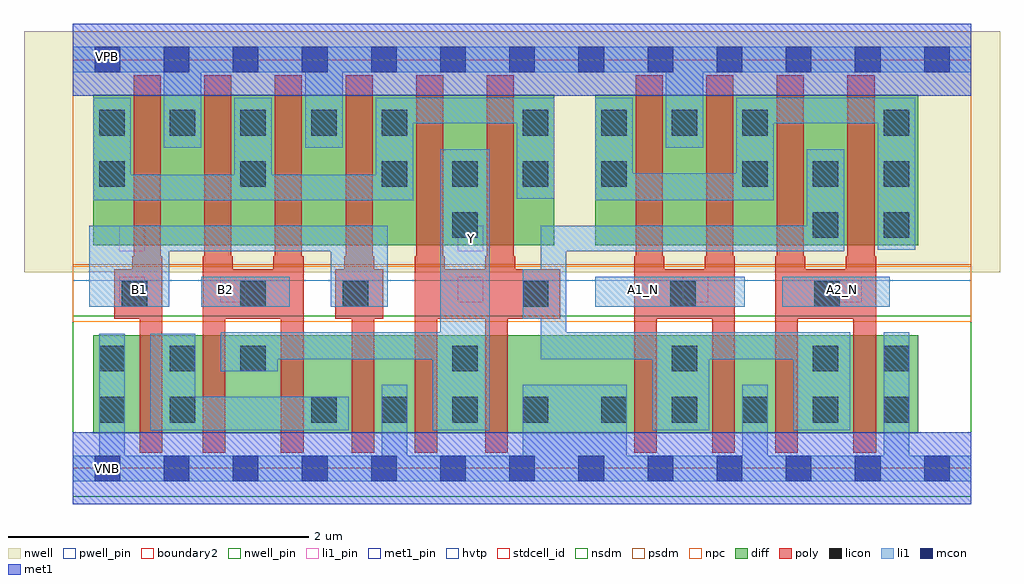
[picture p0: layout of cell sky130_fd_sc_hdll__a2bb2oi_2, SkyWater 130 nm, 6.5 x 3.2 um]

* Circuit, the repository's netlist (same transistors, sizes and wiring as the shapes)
* Copyright 2020 The SkyWater PDK Authors
*
* Licensed under the Apache License, Version 2.0 (the "License");
* you may not use this file except in compliance with the License.
* You may obtain a copy of the License at
*
*     https://www.apache.org/licenses/LICENSE-2.0
*
* Unless required by applicable law or agreed to in writing, software
* distributed under the License is distributed on an "AS IS" BASIS,
* WITHOUT WARRANTIES OR CONDITIONS OF ANY KIND, either express or implied.
* See the License for the specific language governing permissions and
* limitations under the License.
*
* SPDX-License-Identifier: Apache-2.0

.SUBCKT sky130_fd_sc_hdll__a2bb2oi_2 A1_N A2_N B1 B2 VGND VNB VPB VPWR Y
*.PININFO A1_N:I A2_N:I B1:I B2:I VGND:I VNB:I VPB:I VPWR:I Y:O
MMNnor0 inor A1_N VGND VNB sky130_fd_pr__nfet_01v8 m=2 w=0.65U l=0.15U mult=1 sa=0.265
+ sb=0.265 sd=0.28 area=0.063 perim=1.14
MMNnor1 inor A2_N VGND VNB sky130_fd_pr__nfet_01v8 m=2 w=0.65U l=0.15U mult=1 sa=0.265
+ sb=0.265 sd=0.28 area=0.063 perim=1.14
MMNaoi10 VGND B1 sndNB1 VNB sky130_fd_pr__nfet_01v8 m=2 w=0.65U l=0.15U mult=1
+ sa=0.265 sb=0.265 sd=0.28 area=0.063 perim=1.14
MMNaoi11 sndNB1 B2 Y VNB sky130_fd_pr__nfet_01v8 m=2 w=0.65U l=0.15U mult=1 sa=0.265
+ sb=0.265 sd=0.28 area=0.063 perim=1.14
MMNaoi20 Y inor VGND VNB sky130_fd_pr__nfet_01v8 m=2 w=0.65U l=0.15U mult=1 sa=0.265
+ sb=0.265 sd=0.28 area=0.063 perim=1.14
MMPnor0 VPWR A1_N sndPA1N VPB sky130_fd_pr__pfet_01v8_hvt m=2 w=1.0U l=0.18U mult=1
+ sa=0.265 sb=0.265 sd=0.28 area=0.063 perim=1.14
MMPnor1 sndPA1N A2_N inor VPB sky130_fd_pr__pfet_01v8_hvt m=2 w=1.0U l=0.18U mult=1
+ sa=0.265 sb=0.265 sd=0.28 area=0.063 perim=1.14
MMPaoi10 pmid B1 VPWR VPB sky130_fd_pr__pfet_01v8_hvt m=2 w=1.0U l=0.18U mult=1
+ sa=0.265 sb=0.265 sd=0.28 area=0.063 perim=1.14
MMPaoi11 pmid B2 VPWR VPB sky130_fd_pr__pfet_01v8_hvt m=2 w=1.0U l=0.18U mult=1
+ sa=0.265 sb=0.265 sd=0.28 area=0.063 perim=1.14
MMPaoi20 Y inor pmid VPB sky130_fd_pr__pfet_01v8_hvt m=2 w=1.0U l=0.18U mult=1
+ sa=0.265 sb=0.265 sd=0.28 area=0.063 perim=1.14
.ENDS sky130_fd_sc_hdll__a2bb2oi_2

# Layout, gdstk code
import gdstk
lib = gdstk.Library(unit=1e-6, precision=1e-09)
def R(c, l, rs):  # rectangles x0, y0, x1, y1
    for r in rs: c.add(gdstk.rectangle(r[:2], r[2:], *l))
def A(c, l, x, y, w, h, nx, ny, dx, dy):  # array of equal rectangles
    R(c, l, [(x+i*dx, y+j*dy, x+i*dx+w, y+j*dy+h) for i in range(nx) for j in range(ny)])
def P(c, l, *ps):  # polygons
    for p in ps: c.add(gdstk.Polygon(p, *l))
nwell_pin = (64, 16)
nwell = (64, 20)
diff = (65, 20)
poly = (66, 20)
licon = (66, 44)
li1_pin = (67, 16)
li1 = (67, 20)
mcon = (67, 44)
met1_pin = (68, 16)
met1 = (68, 20)
hvtp = (78, 44)
stdcell_id = (81, 4)
nsdm = (93, 44)
psdm = (94, 20)
npc = (95, 20)
pwell_pin = (122, 16)
boundary2 = (236, 0)

sky130_fd_sc_hdll__a2bb2 = lib.new_cell('sky130_fd_sc_hdll__a2bb2oi_2')
R(sky130_fd_sc_hdll__a2bb2, nwell_pin, [(0.145,2.635,0.315,2.805)])
R(sky130_fd_sc_hdll__a2bb2, nwell, [(-0.325,1.305,6.17,2.91)])
R(sky130_fd_sc_hdll__a2bb2, diff, [(0.135,0.235,5.625,0.885), (0.135,1.485,3.205,2.485), (3.475,1.485,5.625,2.485)])
P(sky130_fd_sc_hdll__a2bb2, poly, [(0.595,1.41),(0.585,1.41),(0.585,2.615),(0.405,2.615),(0.405,1.41),(0.395,1.41),(0.395,1.325),(0.275,1.325),(0.275,0.995),(0.445,0.995),(0.445,0.105),(0.595,0.105)],
  [(1.535,1.41),(1.525,1.41),(1.525,2.615),(1.345,2.615),(1.345,1.41),(1.335,1.41),(1.335,1.325),(1.065,1.325),(1.065,1.41),(1.055,1.41),(1.055,2.615),(0.875,2.615),(0.875,1.41),(0.865,1.41),(0.865,0.105),(1.015,0.105),(1.015,0.995),(1.385,0.995),(1.385,0.105),(1.535,0.105)],
  [(2.065,1.325),(2.005,1.325),(2.005,1.41),(1.995,1.41),(1.995,2.615),(1.815,2.615),(1.815,1.41),(1.805,1.41),(1.805,1.325),(1.745,1.325),(1.745,0.995),(1.855,0.995),(1.855,0.105),(2.005,0.105),(2.005,0.995),(2.065,0.995)],
  [(3.245,1.325),(2.945,1.325),(2.945,1.41),(2.935,1.41),(2.935,2.615),(2.755,2.615),(2.755,1.41),(2.745,1.41),(2.745,1.325),(2.475,1.325),(2.475,1.41),(2.465,1.41),(2.465,2.615),(2.285,2.615),(2.285,1.41),(2.275,1.41),(2.275,0.105),(2.425,0.105),(2.425,0.995),(2.745,0.995),(2.745,0.105),(2.895,0.105),(2.895,0.995),(3.245,0.995)],
  [(4.405,1.41),(4.395,1.41),(4.395,2.615),(4.215,2.615),(4.215,1.41),(4.205,1.41),(4.205,1.325),(3.935,1.325),(3.935,1.41),(3.925,1.41),(3.925,2.615),(3.745,2.615),(3.745,1.41),(3.735,1.41),(3.735,0.105),(3.885,0.105),(3.885,0.995),(4.255,0.995),(4.255,0.105),(4.405,0.105)],
  [(5.345,1.41),(5.335,1.41),(5.335,2.615),(5.155,2.615),(5.155,1.41),(5.145,1.41),(5.145,1.325),(4.875,1.325),(4.875,1.41),(4.865,1.41),(4.865,2.615),(4.685,2.615),(4.685,1.41),(4.675,1.41),(4.675,0.105),(4.825,0.105),(4.825,0.995),(5.195,0.995),(5.195,0.105),(5.345,0.105)])
A(sky130_fd_sc_hdll__a2bb2, licon, 1.585, 0.305, 0.17, 0.17, 4, 1, 0.47, 0)
A(sky130_fd_sc_hdll__a2bb2, licon, 3.515, 0.305, 0.17, 0.17, 5, 1, 0.47, 0)
A(sky130_fd_sc_hdll__a2bb2, licon, 0.175, 0.645, 0.17, 0.17, 3, 1, 0.47, 0)
A(sky130_fd_sc_hdll__a2bb2, licon, 0.175, 1.875, 0.17, 0.17, 3, 1, 0.94, 0)
A(sky130_fd_sc_hdll__a2bb2, licon, 4.455, 1.875, 0.17, 0.17, 3, 1, 0.47, 0)
A(sky130_fd_sc_hdll__a2bb2, licon, 0.175, 2.215, 0.17, 0.17, 5, 1, 0.47, 0)
A(sky130_fd_sc_hdll__a2bb2, licon, 3.515, 2.215, 0.17, 0.17, 3, 1, 0.47, 0)
R(sky130_fd_sc_hdll__a2bb2, licon, [(0.175,0.305,0.345,0.475), (0.645,0.305,0.815,0.475), (2.525,0.645,2.695,0.815), (3.985,0.645,4.155,0.815), (4.925,0.645,5.095,0.815), (5.395,0.645,5.565,0.815), (0.325,1.075,0.495,1.245), (1.115,1.075,1.285,1.245), (1.795,1.075,1.965,1.245), (2.995,1.075,3.165,1.245), (3.975,1.075,4.145,1.245), (4.935,1.075,5.105,1.245), (2.525,1.535,2.695,1.705), (4.925,1.535,5.095,1.705), (5.395,1.535,5.565,1.705), (2.525,1.875,2.695,2.045), (2.995,1.875,3.165,2.045), (3.515,1.875,3.685,2.045), (2.995,2.215,3.165,2.385), (5.395,2.215,5.565,2.385)])
R(sky130_fd_sc_hdll__a2bb2, li1_pin, [(0.31,1.105,0.48,1.275), (0.98,1.105,1.15,1.275), (2.56,1.105,2.73,1.275), (4.06,1.105,4.23,1.275), (5.08,1.105,5.25,1.275), (0.31,1.445,0.48,1.615), (2.56,1.445,2.73,1.615)])
R(sky130_fd_sc_hdll__a2bb2, li1, [(0.855,1.075,1.445,1.275), (3.475,1.075,4.47,1.275), (4.72,1.075,5.435,1.275)])
P(sky130_fd_sc_hdll__a2bb2, li1, [(5.98,0.085),(5.565,0.085),(5.565,0.905),(5.395,0.905),(5.395,0.085),(4.625,0.085),(4.625,0.555),(4.455,0.555),(4.455,0.085),(3.685,0.085),(3.685,0.555),(2.995,0.555),(2.995,0.085),(2.225,0.085),(2.225,0.555),(2.055,0.555),(2.055,0.085),(0.345,0.085),(0.345,0.895),(0.175,0.895),(0.175,0.085),(0,0.085),(0,-0.085),(5.98,-0.085)],
  [(5.98,2.805),(0,2.805),(0,2.635),(0.605,2.635),(0.605,2.135),(0.855,2.135),(0.855,2.635),(1.545,2.635),(1.545,2.135),(1.795,2.135),(1.795,2.635),(3.945,2.635),(3.945,2.135),(4.195,2.135),(4.195,2.635),(5.98,2.635)],
  [(5.605,2.465),(4.415,2.465),(4.415,1.965),(3.725,1.965),(3.725,2.465),(3.475,2.465),(3.475,1.785),(4.665,1.785),(4.665,2.295),(5.355,2.295),(5.355,1.455),(5.605,1.455)],
  [(5.175,0.905),(3.285,0.905),(3.285,1.445),(5.135,1.445),(5.135,2.125),(4.885,2.125),(4.885,1.615),(3.115,1.615),(3.115,1.325),(2.995,1.325),(2.995,0.995),(3.115,0.995),(3.115,0.725),(3.855,0.725),(3.855,0.255),(4.235,0.255),(4.235,0.725),(4.795,0.725),(4.795,0.255),(5.175,0.255)],
  [(3.205,2.465),(2.015,2.465),(2.015,1.955),(1.325,1.955),(1.325,2.465),(1.075,2.465),(1.075,1.955),(0.385,1.955),(0.385,2.465),(0.135,2.465),(0.135,1.785),(2.265,1.785),(2.265,2.295),(2.955,2.295),(2.955,1.795),(3.205,1.795)],
  [(2.775,2.125),(2.445,2.125),(2.445,0.905),(0.985,0.905),(0.985,0.645),(1.365,0.645),(1.365,0.725),(2.395,0.725),(2.395,0.255),(2.775,0.255)],
  [(2.095,1.615),(0.11,1.615),(0.11,1.075),(0.64,1.075),(0.64,1.445),(1.715,1.445),(1.715,1.075),(2.095,1.075)],
  [(1.835,0.475),(0.815,0.475),(0.815,0.895),(0.515,0.895),(0.515,0.255),(1.835,0.255)])
A(sky130_fd_sc_hdll__a2bb2, mcon, 0.145, -0.085, 0.17, 0.17, 13, 2, 0.46, 2.72)
R(sky130_fd_sc_hdll__a2bb2, met1_pin, [(0.145,-0.085,0.315,0.085), (0.145,2.635,0.315,2.805)])
R(sky130_fd_sc_hdll__a2bb2, met1, [(0,-0.24,5.98,0.24), (0,2.48,5.98,2.96)])
R(sky130_fd_sc_hdll__a2bb2, hvtp, [(0,1.25,5.98,2.72)])
R(sky130_fd_sc_hdll__a2bb2, stdcell_id, [(0,0,5.98,2.72)])
R(sky130_fd_sc_hdll__a2bb2, nsdm, [(0,-0.19,5.98,1.015)])
R(sky130_fd_sc_hdll__a2bb2, psdm, [(0,1.355,5.98,2.91)])
R(sky130_fd_sc_hdll__a2bb2, npc, [(0,0.975,5.98,1.345)])
R(sky130_fd_sc_hdll__a2bb2, pwell_pin, [(0.145,-0.085,0.315,0.085)])
R(sky130_fd_sc_hdll__a2bb2, boundary2, [(0,0,5.98,2.72)])
sky130_fd_sc_hdll__a2bb2.add(gdstk.Label('A2_N', (5.125,1.19), layer=67, texttype=5))
sky130_fd_sc_hdll__a2bb2.add(gdstk.Label('A1_N', (3.795,1.19), layer=67, texttype=5))
sky130_fd_sc_hdll__a2bb2.add(gdstk.Label('Y', (2.65,1.53), layer=67, texttype=5))
sky130_fd_sc_hdll__a2bb2.add(gdstk.Label('B2', (1.015,1.19), layer=67, texttype=5))
sky130_fd_sc_hdll__a2bb2.add(gdstk.Label('B1', (0.445,1.19), layer=67, texttype=5))
sky130_fd_sc_hdll__a2bb2.add(gdstk.Label('VNB', (0.23,0), layer=64, texttype=59))
sky130_fd_sc_hdll__a2bb2.add(gdstk.Label('VPB', (0.23,2.74), layer=64, texttype=5))
sky130_fd_sc_hdll__a2bb2.add(gdstk.Label('VGND', (0.23,0), layer=68, texttype=5))
sky130_fd_sc_hdll__a2bb2.add(gdstk.Label('VPWR', (0.23,2.74), layer=68, texttype=5))
sky130_fd_sc_hdll__a2bb2.add(gdstk.Label('a2bb2oi_2', (0,0), layer=83, texttype=44))

lib.write_gds('sky130_fd_sc_hdll__a2bb2oi_2.gds')
